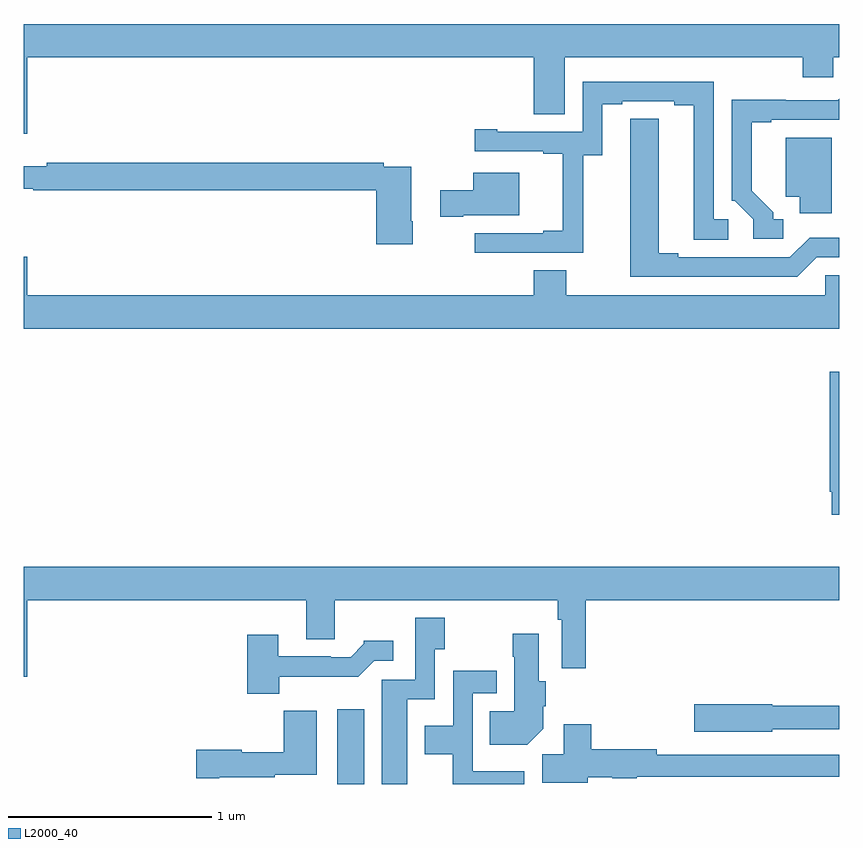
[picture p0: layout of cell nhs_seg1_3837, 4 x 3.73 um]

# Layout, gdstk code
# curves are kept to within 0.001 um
import gdstk
lib = gdstk.Library(unit=1e-6, precision=1e-09)
def R(c, l, rs):  # rectangles x0, y0, x1, y1
    for r in rs: c.add(gdstk.rectangle(r[:2], r[2:], *l))
def P(c, l, *ps):  # polygons
    for p in ps: c.add(gdstk.Polygon(p, *l))
L2000_40 = (2000, 40)

nhs_seg1_3837 = lib.new_cell('nhs_seg1_3837')
R(nhs_seg1_3837, L2000_40, [(322.538,516.199,322.669,516.565)])
P(nhs_seg1_3837, L2000_40, [(321.016,519.764),(323.501,519.764),(323.501,519.484),(323.653,519.484),(323.653,519.764),(324.821,519.764),(324.821,519.666),(324.972,519.666),(324.972,519.764),(325,519.764),(325,519.928),(321,519.928),(321,519.39),(321.016,519.39)],
  [(323.745,519.283),(323.839,519.283),(323.839,519.534),(323.935,519.534),(323.935,519.549),(324.191,519.549),(324.191,519.529),(324.287,519.529),(324.287,518.869),(324.457,518.869),(324.457,518.97),(324.384,518.97),(324.384,519.645),(323.742,519.645),(323.742,519.399),(323.323,519.399),(323.323,519.412),(323.211,519.412),(323.211,519.303),(323.549,519.303),(323.549,519.291),(323.645,519.291),(323.645,518.914),(323.549,518.914),(323.549,518.901),(323.211,518.901),(323.211,518.805),(323.745,518.805)],
  [(324.727,518.97),(324.676,518.97),(324.676,519.005),(324.571,519.11),(324.571,519.447),(324.667,519.447),(324.667,519.459),(325,519.459),(325,519.562),(324.993,519.555),(324.737,519.555),(324.737,519.557),(324.474,519.557),(324.474,519.06),(324.489,519.06),(324.579,518.97),(324.579,518.874),(324.727,518.874)],
  [(324.891,518.784),(325,518.784),(325,518.88),(324.855,518.88),(324.759,518.784),(324.211,518.784),(324.211,518.804),(324.115,518.804),(324.115,519.464),(323.976,519.464),(323.975,518.688),(324.795,518.688)],
  [(324.964,519.37),(324.737,519.37),(324.737,519.08),(324.806,519.08),(324.806,519),(324.964,519)],
  [(322.908,518.959),(322.9,518.959),(322.9,519.228),(322.766,519.228),(322.766,519.248),(321.112,519.248),(321.112,519.229),(321,519.229),(321,519.12),(321.046,519.12),(321.046,519.112),(322.73,519.112),(322.73,518.847),(322.908,518.847)],
  [(323.155,518.99),(323.431,518.99),(323.431,519.199),(323.204,519.199),(323.204,519.112),(323.043,519.112),(323.043,518.983),(323.155,518.983)],
  [(325,518.694),(324.933,518.694),(324.933,518.596),(323.661,518.596),(323.661,518.72),(323.501,518.72),(323.501,518.596),(321.016,518.596),(321.016,518.785),(321,518.785),(321,518.432),(325,518.432)],
  [(325,518.221),(324.955,518.221),(324.955,517.633),(324.963,517.633),(324.963,517.52),(325,517.52)],
  [(321,516.726),(321.016,516.726),(321.016,517.1),(322.385,517.1),(322.385,516.91),(322.525,516.91),(322.525,517.1),(323.62,517.1),(323.62,517.004),(323.64,517.004),(323.64,516.768),(323.756,516.768),(323.756,517.1),(325,517.1),(325,517.264),(321,517.264)],
  [(322.882,516.614),(323.016,516.614),(323.016,516.859),(323.064,516.859),(323.064,517.015),(322.92,517.015),(322.92,516.711),(322.757,516.711),(322.757,516.199),(322.882,516.199)],
  [(323.548,516.47),(323.548,516.58),(323.561,516.58),(323.561,516.702),(323.527,516.702),(323.527,516.937),(323.398,516.937),(323.398,516.824),(323.405,516.824),(323.405,516.556),(323.287,516.556),(323.287,516.392),(323.47,516.392)],
  [(322.252,516.726),(322.641,516.726),(322.719,516.804),(322.813,516.804),(322.813,516.901),(322.668,516.901),(322.668,516.886),(322.604,516.822),(322.505,516.822),(322.505,516.825),(322.249,516.825),(322.249,516.931),(322.097,516.931),(322.097,516.641),(322.252,516.641)],
  [(323.455,516.262),(323.202,516.262),(323.202,516.645),(323.32,516.645),(323.32,516.754),(323.106,516.754),(323.106,516.484),(322.967,516.484),(322.967,516.344),(323.104,516.344),(323.104,516.199),(323.455,516.199)],
  [(324.672,516.468),(325,516.468),(325,516.584),(324.672,516.584),(324.672,516.59),(324.288,516.59),(324.288,516.455),(324.672,516.455)],
  [(321.958,516.233),(322.23,516.233),(322.23,516.245),(322.438,516.245),(322.438,516.559),(322.276,516.559),(322.276,516.355),(322.068,516.355),(322.068,516.368),(321.846,516.368),(321.846,516.226),(321.958,516.226)],
  [(323.766,516.233),(323.886,516.233),(323.886,516.226),(324.006,516.226),(324.006,516.234),(325,516.234),(325,516.342),(324.106,516.342),(324.106,516.37),(323.783,516.37),(323.783,516.493),(323.648,516.493),(323.648,516.344),(323.543,516.344),(323.543,516.206),(323.766,516.206)])

lib.write_gds('nhs_seg1_3837.gds')
